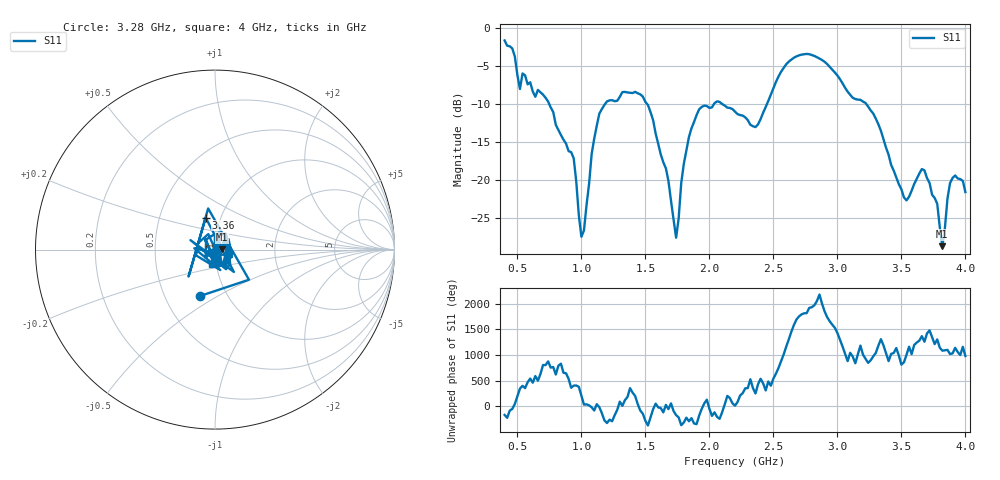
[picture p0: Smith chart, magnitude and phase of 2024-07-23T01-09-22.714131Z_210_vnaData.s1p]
!Created with skrf (http://scikit-rf.org).
# Hz S RI R 50.0
!freq ReS11 ImS11
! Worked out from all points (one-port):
!   181 points, 400 MHz to 4 GHz, reference 50 ohm
!   lowest |S11| = -28.7 dB at 3.82 GHz (marker M1), VSWR 1.08, Z = 53.8 + j0.181 ohm
!   |S11| at or under -10 dB: 747.8 MHz to 1.186 GHz (438.2 MHz wide, 45.3 % of centre); 1.512 GHz to 2.037 GHz (524.3 MHz wide, 29.5 % of centre); 3.225 GHz to end of sweep (the widest 3 of 4)
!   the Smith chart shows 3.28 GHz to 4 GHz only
!   S11 on the Smith chart (normalised r, x): 3.28 GHz: 0.74, -0.42; 3.36 GHz: 0.85, +0.31; 4 GHz: 0.96, -0.16
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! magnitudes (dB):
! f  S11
! 400 MHz  -1.7
! 460 MHz  -2.7
! 520 MHz  -8.0
! 700 MHz  -8.8
! 860 MHz  -14.7
! 940 MHz  -17.2
! 1 GHz  -27.5
! 1.14 GHz  -11.3
! 1.3 GHz  -9.1
! 1.52 GHz  -10.2
! 1.66 GHz  -18.5
! 1.74 GHz  -27.6
! 1.76 GHz  -25.0
! 1.8 GHz  -17.9
! 1.92 GHz  -10.7
! 2.2 GHz  -11.0
! 2.36 GHz  -13.1
! 2.66 GHz  -3.9
! 2.88 GHz  -4.2
! 3.1 GHz  -8.8
! 3.28 GHz  -11.3
! 3.36 GHz  -14.6
! 3.56 GHz  -22.2
! 3.68 GHz  -18.7
! 3.78 GHz  -23.1
! 3.82 GHz  -28.7
! 3.88 GHz  -20.4
! 4 GHz  -21.6
